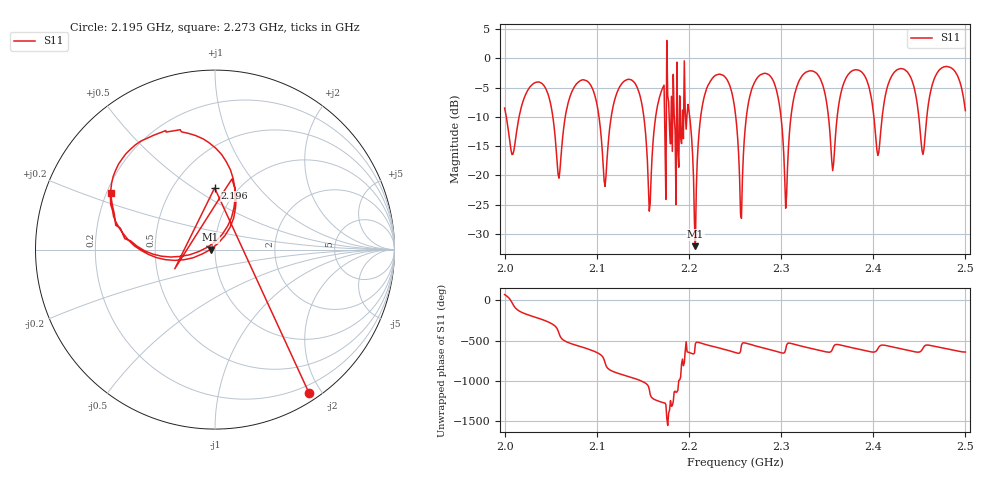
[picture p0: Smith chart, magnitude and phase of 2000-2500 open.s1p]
! NanoVNA-App by SYSJOINT et al v1.1.209 (+OD18)
! Date: 2025-09-17 10:32:18
! Start: 2GHz Stop: 2.5GHz Points: 501
! S-Parameter data: F S11
# Hz S RI R 50
!  Frequency  S11_Real  S11_Imag
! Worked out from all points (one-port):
!   501 points, 2 GHz to 2.5 GHz, reference 50 ohm
!   lowest |S11| = -32.1 dB at 2.207 GHz (marker M1), VSWR 1.05, Z = 47.6 + j0.0462 ohm
!   |S11| at or under -10 dB: 2.002 GHz to 2.016 GHz (13.84 MHz wide, 0.689 % of centre); 2.052 GHz to 2.066 GHz (13.48 MHz wide, 0.654 % of centre); 2.102 GHz to 2.116 GHz (13.3 MHz wide, 0.63 % of centre) (the widest 3 of 18)
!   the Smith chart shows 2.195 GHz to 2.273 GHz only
!   S11 on the Smith chart (normalised r, x): 2.195 GHz: 0.11, -1.85; 2.196 GHz: 0.79, +0.61; 2.273 GHz: 0.22, +0.24
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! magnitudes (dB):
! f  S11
! 2 GHz  -8.5
! 2.039 GHz  -4.1
! 2.063 GHz  -13.5
! 2.09 GHz  -3.9
! 2.109 GHz  -21.9
! 2.125 GHz  -4.8
! 2.146 GHz  -5.9
! 2.157 GHz  -26.1
! 2.171 GHz  -5.2
! 2.188 GHz  -15.7
! 2.195 GHz  -0.4
! 2.196 GHz  -9.3
! 2.207 GHz  -32.1
! 2.221 GHz  -4.5
! 2.25 GHz  -8.9
! 2.257 GHz  -27.4
! 2.273 GHz  -3.6
! 2.294 GHz  -4.9
! 2.305 GHz  -25.6
! 2.313 GHz  -7.5
! 2.34 GHz  -2.8
! 2.356 GHz  -19.2
! 2.375 GHz  -2.4
! 2.405 GHz  -16.6
! 2.438 GHz  -2.5
! 2.454 GHz  -16.4
! 2.473 GHz  -1.8
! 2.5 GHz  -8.9
